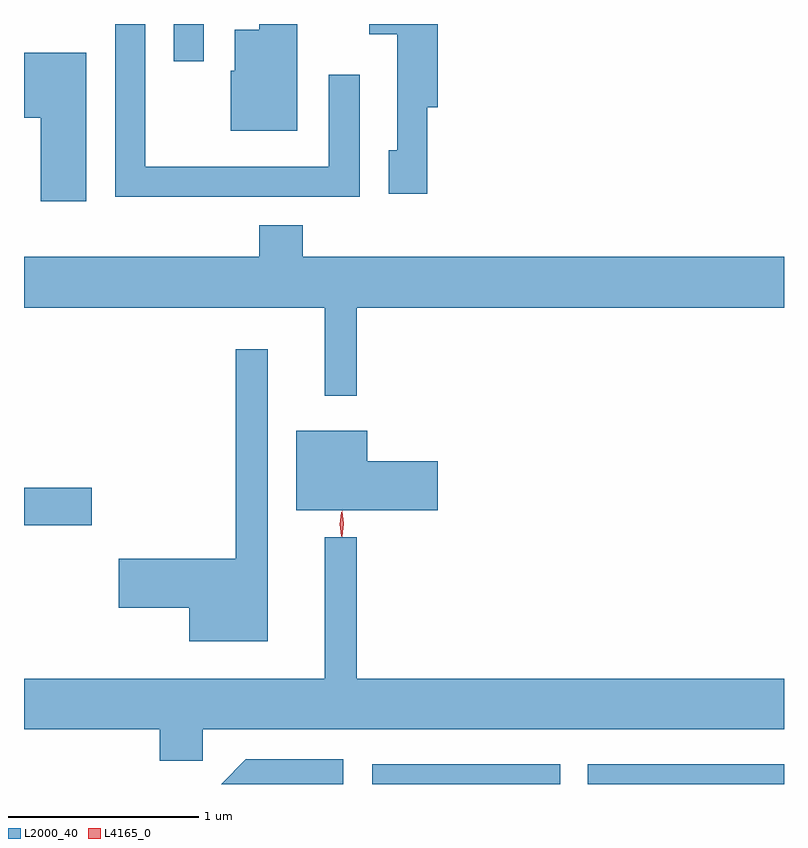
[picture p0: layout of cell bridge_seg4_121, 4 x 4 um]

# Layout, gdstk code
import gdstk
lib = gdstk.Library(unit=1e-6, precision=1e-09)
def R(c, l, rs):  # rectangles x0, y0, x1, y1
    for r in rs: c.add(gdstk.rectangle(r[:2], r[2:], *l))
def P(c, l, *ps):  # polygons
    for p in ps: c.add(gdstk.Polygon(p, *l))
L2000_40 = (2000, 40)
L4165_0 = (4165, 0)

bridge_seg4_121 = lib.new_cell('bridge_seg4_121')
R(bridge_seg4_121, L2000_40, [(806.781,1341.069,807.769,1341.174), (807.913,1341.069,808.947,1341.174), (804.947,1342.431,805.304,1342.629), (805.736,1344.873,805.894,1345.069)])
P(bridge_seg4_121, L2000_40, [(807.069,1344.631),(807.124,1344.631),(807.124,1345.069),(806.763,1345.069),(806.763,1345.016),(806.911,1345.016),(806.911,1344.404),(806.866,1344.404),(806.866,1344.176),(807.069,1344.176)],
  [(806.714,1344.803),(806.551,1344.803),(806.551,1344.319),(805.584,1344.319),(805.584,1345.069),(805.426,1345.069),(805.426,1344.161),(806.714,1344.161)],
  [(806.384,1345.069),(806.186,1345.069),(806.186,1345.039),(806.056,1345.039),(806.056,1344.824),(806.036,1344.824),(806.036,1344.506),(806.384,1344.506)],
  [(805.274,1344.919),(804.947,1344.919),(804.947,1344.576),(805.036,1344.576),(805.036,1344.136),(805.274,1344.136)],
  [(806.699,1343.576),(808.947,1343.576),(808.947,1343.844),(806.414,1343.844),(806.414,1344.009),(806.186,1344.009),(806.186,1343.844),(804.947,1343.844),(804.947,1343.576),(806.531,1343.576),(806.531,1343.113),(806.699,1343.113)],
  [(806.229,1343.358),(806.061,1343.358),(806.061,1342.254),(805.446,1342.254),(805.446,1341.996),(805.816,1341.996),(805.816,1341.821),(806.229,1341.821)],
  [(807.124,1342.769),(806.754,1342.769),(806.754,1342.929),(806.381,1342.929),(806.381,1342.511),(807.124,1342.511)],
  [(805.889,1341.356),(808.947,1341.356),(808.947,1341.624),(806.699,1341.624),(806.699,1342.368),(806.531,1342.368),(806.531,1341.624),(804.947,1341.624),(804.947,1341.356),(805.661,1341.356),(805.661,1341.191),(805.889,1341.191)],
  [(806.628,1341.199),(806.114,1341.199),(805.984,1341.069),(806.628,1341.069)])
P(bridge_seg4_121, L4165_0, [(806.618,1342.373),(806.618,1342.373),(806.608,1342.436),(806.618,1342.5),(806.618,1342.5),(806.619,1342.5),(806.628,1342.436),(806.619,1342.373)],
  [(806.621,1342.37),(806.621,1342.37),(806.611,1342.438),(806.621,1342.505),(806.621,1342.506),(806.622,1342.505),(806.631,1342.438),(806.622,1342.37)])

lib.write_gds('bridge_seg4_121.gds')
